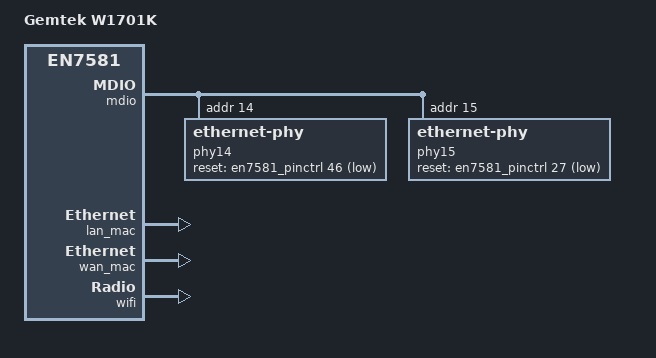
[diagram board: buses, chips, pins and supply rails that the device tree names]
// SPDX-License-Identifier: GPL-2.0-or-later OR MIT

/dts-v1/;

#include "an7581-gemtek.dtsi"

/ {
	model = "Gemtek W1701K";
	compatible = "gemtek,w1701k", "airoha,an7581", "airoha,en7581";

	chosen {
		bootargs = "console=ttyS0,115200 earlycon";
	};
};

&gdm1 {
	nvmem-cells = <&lan_mac 0>;
	nvmem-cell-names = "mac-address";
};

&gdm2 {
	phy-handle = <&phy15>;
	phy-mode = "2500base-x";

	nvmem-cells = <&wan_mac 0>;
	nvmem-cell-names = "mac-address";
};

&gdm4 {
	phy-handle = <&phy14>;
	phy-mode = "2500base-x";

	nvmem-cells = <&lan_mac 0>;
	nvmem-cell-names = "mac-address";
};

&mdio {
	phy14: ethernet-phy@14 {
		reg = <14>;
		reset-assert-us = <10000>;
		reset-deassert-us = <20000>;
		reset-gpios = <&en7581_pinctrl 46 GPIO_ACTIVE_LOW>;

		leds {
			#address-cells = <1>;
			#size-cells = <0>;

			led@0 {
				reg = <0>;
				color = <LED_COLOR_ID_GREEN>;
				function = LED_FUNCTION_LAN;
				default-state = "keep";
			};

			led@1 {
				reg = <1>;
				color = <LED_COLOR_ID_AMBER>;
				function = LED_FUNCTION_LAN;
				default-state = "keep";
			};
		};
	};

	phy15: ethernet-phy@15 {
		reg = <15>;
		reset-assert-us = <10000>;
		reset-deassert-us = <20000>;
		reset-gpios = <&en7581_pinctrl 27 GPIO_ACTIVE_LOW>;

		leds {
			#address-cells = <1>;
			#size-cells = <0>;

			led@0 {
				reg = <0>;
				color = <LED_COLOR_ID_GREEN>;
				function = LED_FUNCTION_WAN;
				default-state = "keep";
			};

			led@1 {
				reg = <1>;
				color = <LED_COLOR_ID_AMBER>;
				function = LED_FUNCTION_WAN;
				default-state = "keep";
			};
		};
	};
};

&spi_nand {
	#address-cells = <1>;
	#size-cells = <1>;

	partitions {
		compatible = "fixed-partitions";
		#address-cells = <1>;
		#size-cells = <1>;

		partition@0 {
			label = "bootloader";
			reg = <0x00000000 0x00200000>;
			read-only;
		};

		partition@200000 {
			label = "uenv";
			reg = <0x00200000 0x00200000>;
		};

		dsd: partition@400000 {
			label = "dsd";
			reg = <0x00400000 0x00200000>;
			read-only;

			nvmem-layout {
				compatible = "ascii-eq-delim-env";
				#address-cells = <1>;
				#size-cells = <1>;

				lan_mac: lan_mac {
					compatible = "mac-base";
					#nvmem-cell-cells = <1>;
				};

				wan_mac: wan_mac {
					compatible = "mac-base";
					#nvmem-cell-cells = <1>;
				};
			};
		};

		partition@600000 {
			label = "kernel";
			reg = <0x00600000 0x01000000>;
		};

		partition@1600000 {
			label = "rootfs";
			reg = <0x01600000 0x1e800000>;
			compatible = "linux,ubi";
		};

		/* reserved for bad block table */
		reserved@1fe00000 {
			label = "reserved";
			reg = <0x1fe00000 0x00200000>;
			read-only;
		};
	};
};

&wifi {
	mediatek,mtd-eeprom = <&dsd 0x5000>;
	nvmem-cells = <&lan_mac 1>;
	nvmem-cell-names = "mac-address";
};
